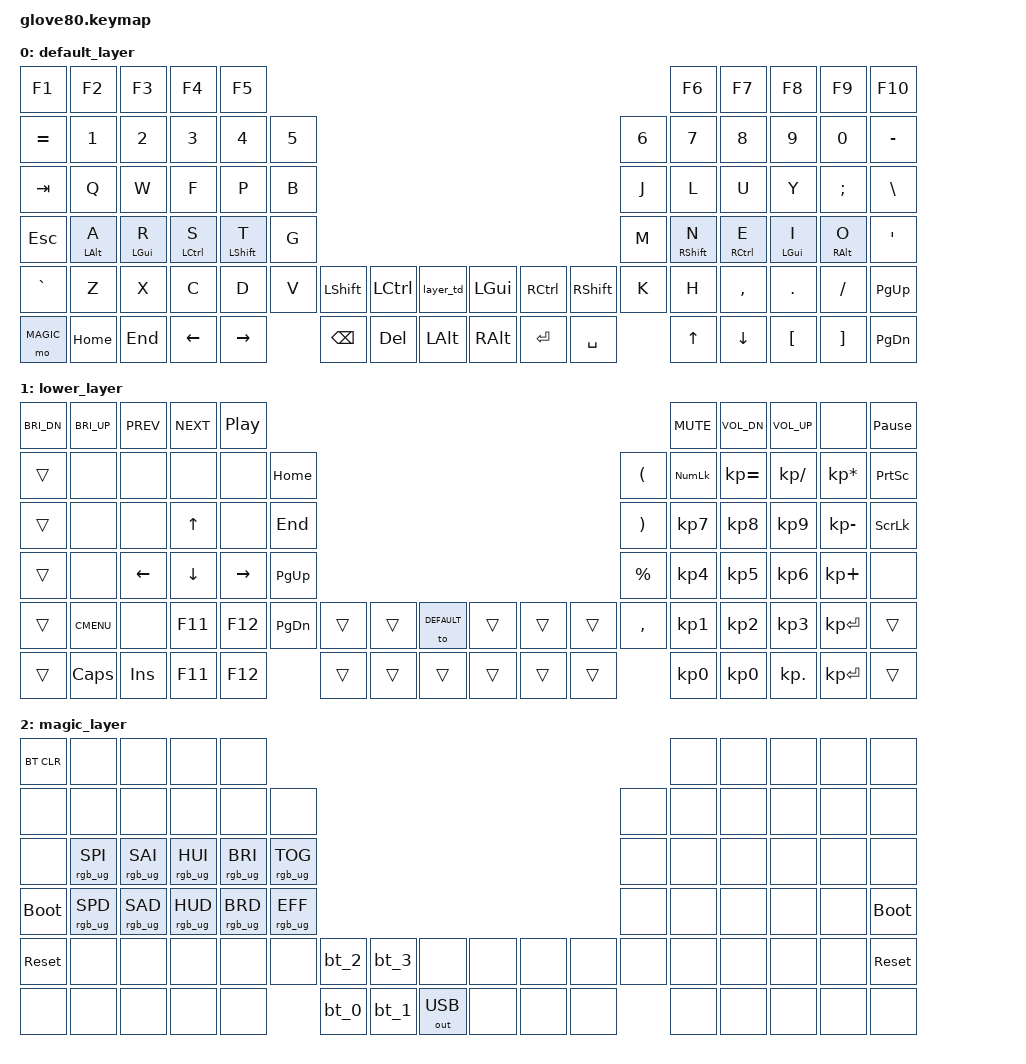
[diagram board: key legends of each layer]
/*
 * Copyright (c) 2020 The ZMK Contributors
 *
 * SPDX-License-Identifier: MIT
 */

#include <behaviors.dtsi>
#include <dt-bindings/zmk/bt.h>
#include <dt-bindings/zmk/keys.h>
#include <dt-bindings/zmk/outputs.h>
#include <dt-bindings/zmk/rgb.h>

// layers

#define DEFAULT 0
#define LOWER 1
#define MAGIC 2

/ {
    behaviors {
        // For the "layer" key, it'd nice to be able to use it as either a shift or a toggle.
        // Configure it as a tap dance, so the first tap (or hold) is a &mo and the second tap is a &to

        layer_td: tap_dance_0 {
            compatible = "zmk,behavior-tap-dance";
            #binding-cells = <0>;
            tapping-term-ms = <250>;
            bindings = <&mo LOWER>, <&to LOWER>;
        };

        lmt: lmt {
            compatible = "zmk,behavior-hold-tap";
            label = "LMT";
            bindings = <&kp>, <&kp>;

            #binding-cells = <2>;
            tapping-term-ms = <1000>;
            flavor = "balanced";
            require-prior-idle-ms = <200>;
            hold-trigger-key-positions = <69 70 71 54 53 52 55 56 57 72 73 74 5 6 7 8 9 16 17 18 19 20 21 28 29 30 31 32 33 40 41 42 43 44 45 56 57 58 59 60 61 62 63 73 74 75 76 77 78 79>;
            hold-trigger-on-release;
        };

        rmt: rmt {
            compatible = "zmk,behavior-hold-tap";
            label = "RMT";
            bindings = <&kp>, <&kp>;

            #binding-cells = <2>;
            tapping-term-ms = <1000>;
            flavor = "balanced";
            require-prior-idle-ms = <200>;
            hold-trigger-on-release;
            hold-trigger-key-positions = <0 1 2 3 4 10 11 12 13 14 15 22 23 24 25 26 27 34 35 36 37 38 39 46 47 48 49 50 51 52 53 64 65 66 67 68 69 70 71 54 55 56 57 74 72 73>;
        };
    };

    macros {
        bt_0: bt_profile_macro_0 {
            compatible = "zmk,behavior-macro";
            #binding-cells = <0>;
            bindings = <&out OUT_BLE &bt BT_SEL 0>;
        };

        bt_1: bt_profile_macro_1 {
            compatible = "zmk,behavior-macro";
            #binding-cells = <0>;
            bindings = <&out OUT_BLE &bt BT_SEL 1>;
        };

        bt_2: bt_profile_macro_2 {
            compatible = "zmk,behavior-macro";
            #binding-cells = <0>;
            bindings = <&out OUT_BLE &bt BT_SEL 2>;
        };

        bt_3: bt_profile_macro_3 {
            compatible = "zmk,behavior-macro";
            #binding-cells = <0>;
            bindings = <&out OUT_BLE &bt BT_SEL 3>;
        };
    };

    keymap {
        compatible = "zmk,keymap";

        default_layer {
            bindings = <
&kp F1     &kp F2       &kp F3       &kp F4        &kp F5                                                                                           &kp F6        &kp F7        &kp F8       &kp F9       &kp F10
&kp EQUAL  &kp N1       &kp N2       &kp N3        &kp N4        &kp N5                                                                     &kp N6  &kp N7        &kp N8        &kp N9       &kp N0       &kp MINUS
&kp TAB    &kp Q        &kp W        &kp F         &kp P         &kp B                                                                      &kp J   &kp L         &kp U         &kp Y        &kp SEMI     &kp BSLH
&kp ESC    &lmt LALT A  &lmt LGUI R  &lmt LCTRL S  &lmt LSHFT T  &kp G                                                                      &kp M   &rmt RSHFT N  &rmt RCTRL E  &rmt LGUI I  &rmt RALT O  &kp SQT
&kp GRAVE  &kp Z        &kp X        &kp C         &kp D         &kp V   &kp LSHFT  &kp LCTRL  &layer_td    &kp LGUI  &kp RCTRL  &kp RSHFT  &kp K   &kp H         &kp COMMA     &kp DOT      &kp FSLH     &kp PG_UP
&mo MAGIC  &kp HOME     &kp END      &kp LEFT      &kp RIGHT             &kp BSPC   &kp DEL    &kp LALT     &kp RALT  &kp RET    &kp SPACE          &kp UP        &kp DOWN      &kp LBKT     &kp RBKT     &kp PG_DN
            >;
        };

        lower_layer {
            bindings = <
&kp C_BRI_DN  &kp C_BRI_UP  &kp C_PREV  &kp C_NEXT  &kp C_PP                                                                                &kp C_MUTE  &kp C_VOL_DN  &kp C_VOL_UP   &none            &kp PAUSE_BREAK
&trans        &none         &none       &none       &none      &kp HOME                                                          &kp LPAR   &kp KP_NUM  &kp KP_EQUAL  &kp KP_DIVIDE  &kp KP_MULTIPLY  &kp PSCRN
&trans        &none         &none       &kp UP      &none      &kp END                                                           &kp RPAR   &kp KP_N7   &kp KP_N8     &kp KP_N9      &kp KP_MINUS     &kp SLCK
&trans        &none         &kp LEFT    &kp DOWN    &kp RIGHT  &kp PG_UP                                                         &kp PRCNT  &kp KP_N4   &kp KP_N5     &kp KP_N6      &kp KP_PLUS      &none
&trans        &kp K_CMENU   &none       &kp F11     &kp F12    &kp PG_DN  &trans  &trans  &to DEFAULT    &trans  &trans  &trans  &kp COMMA  &kp KP_N1   &kp KP_N2     &kp KP_N3      &kp KP_ENTER     &trans
&trans        &kp CAPS      &kp INS     &kp F11     &kp F12               &trans  &trans  &trans         &trans  &trans  &trans             &kp KP_N0   &kp KP_N0     &kp KP_DOT     &kp KP_ENTER     &trans
            >;
        };

        magic_layer {
            bindings = <
&bt BT_CLR   &none            &none            &none            &none                                                                                       &none  &none  &none  &none  &none
&none        &none            &none            &none            &none            &none                                                               &none  &none  &none  &none  &none  &none
&none        &rgb_ug RGB_SPI  &rgb_ug RGB_SAI  &rgb_ug RGB_HUI  &rgb_ug RGB_BRI  &rgb_ug RGB_TOG                                                     &none  &none  &none  &none  &none  &none
&bootloader  &rgb_ug RGB_SPD  &rgb_ug RGB_SAD  &rgb_ug RGB_HUD  &rgb_ug RGB_BRD  &rgb_ug RGB_EFF                                                     &none  &none  &none  &none  &none  &bootloader
&sys_reset   &none            &none            &none            &none            &none            &bt_2  &bt_3  &none           &none  &none  &none  &none  &none  &none  &none  &none  &sys_reset
&none        &none            &none            &none            &none                             &bt_0  &bt_1  &out OUT_USB    &none  &none  &none         &none  &none  &none  &none  &none
            >;
        };
    };
};
